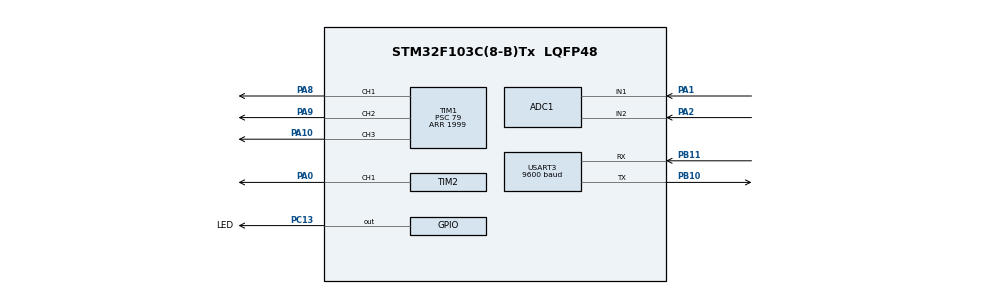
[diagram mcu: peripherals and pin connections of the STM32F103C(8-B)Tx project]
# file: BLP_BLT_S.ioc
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ADC1.Channel-0\#ChannelRegularConversion=ADC_CHANNEL_1
ADC1.Channel-1\#ChannelRegularConversion=ADC_CHANNEL_2
ADC1.ContinuousConvMode=ENABLE
ADC1.DataAlign=ADC_DATAALIGN_RIGHT
ADC1.DiscontinuousConvMode=DISABLE
ADC1.EnableInjectedConversion=ENABLE
ADC1.NbrOfConversion=2
ADC1.NbrOfConversionFlag=1
ADC1.Rank-0\#ChannelRegularConversion=1
ADC1.Rank-1\#ChannelRegularConversion=2
ADC1.SamplingTime-0\#ChannelRegularConversion=ADC_SAMPLETIME_1CYCLE_5
ADC1.SamplingTime-1\#ChannelRegularConversion=ADC_SAMPLETIME_1CYCLE_5
ADC1.master=1
Mcu.Family=STM32F1
Mcu.Name=STM32F103C(8-B)Tx
Mcu.Package=LQFP48
NVIC.ADC1_2_IRQn=true\:0\:0\:false\:false\:true\:true\:true\:true
NVIC.PriorityGroup=NVIC_PRIORITYGROUP_4
NVIC.USART3_IRQn=true\:0\:0\:false\:false\:true\:true\:true\:true
PA0-WKUP.Signal=S_TIM2_CH1_ETR
PA1.Signal=ADCx_IN1
PA10.Signal=S_TIM1_CH3
PA13.Mode=Serial_Wire
PA13.Signal=SYS_JTMS-SWDIO
PA14.Mode=Serial_Wire
PA14.Signal=SYS_JTCK-SWCLK
PA2.Signal=ADCx_IN2
PA8.Signal=S_TIM1_CH1
PA9.Signal=S_TIM1_CH2
PB10.Mode=Asynchronous
PB10.Signal=USART3_TX
PB11.Mode=Asynchronous
PB11.Signal=USART3_RX
PC13-TAMPER-RTC.GPIO_Label=LED
PC13-TAMPER-RTC.Signal=GPIO_Output
PD0-OSC_IN.Mode=HSE-External-Oscillator
PD0-OSC_IN.Signal=RCC_OSC_IN
PD1-OSC_OUT.Mode=HSE-External-Oscillator
PD1-OSC_OUT.Signal=RCC_OSC_OUT
ProjectManager.HeapSize=0x200
ProjectManager.StackSize=0x400
ProjectManager.TargetToolchain=STM32CubeIDE
RCC.APB1Freq_Value=8000000
RCC.APB2Freq_Value=8000000
SH.ADCx_IN1.0=ADC1_IN1,IN1
SH.ADCx_IN2.0=ADC1_IN2,IN2
SH.S_TIM1_CH1.0=TIM1_CH1,PWM Generation1 CH1
SH.S_TIM1_CH2.0=TIM1_CH2,PWM Generation2 CH2
SH.S_TIM1_CH3.0=TIM1_CH3,PWM Generation3 CH3
SH.S_TIM2_CH1_ETR.0=TIM2_CH1,PWM Generation1 CH1
TIM1.AutoReloadPreload=TIM_AUTORELOAD_PRELOAD_ENABLE
TIM1.Channel-PWM\ Generation1\ CH1=TIM_CHANNEL_1
TIM1.Channel-PWM\ Generation2\ CH2=TIM_CHANNEL_2
TIM1.Channel-PWM\ Generation3\ CH3=TIM_CHANNEL_3
TIM1.Period=1999
TIM1.Prescaler=79
TIM2.AutoReloadPreload=TIM_AUTORELOAD_PRELOAD_ENABLE
TIM2.Channel-PWM\ Generation1\ CH1=TIM_CHANNEL_1
TIM2.Period=1999
TIM2.Prescaler=79
USART3.BaudRate=9600
USART3.VirtualMode=VM_ASYNC
VP_TIM1_VS_ClockSourceINT.Mode=Internal
VP_TIM2_VS_ClockSourceINT.Mode=Internal
board=custom

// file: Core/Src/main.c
/* USER CODE BEGIN Header */
/**
  ******************************************************************************
  * @file           : main.c
  * @brief          : Main program body
  ******************************************************************************
  * @attention
  *
  * Copyright (c) 2023 STMicroelectronics.
  * All rights reserved.
  *
  * This software is licensed under terms that can be found in the LICENSE file
  * in the root directory of this software component.
  * If no LICENSE file comes with this software, it is provided AS-IS.
  *
  ******************************************************************************
  */
/* USER CODE END Header */
#include "main.h"

/* USER CODE BEGIN Includes */
#include <string.h>
/* USER CODE END Includes */

ADC_HandleTypeDef hadc1;

TIM_HandleTypeDef htim1;
TIM_HandleTypeDef htim2;

UART_HandleTypeDef huart3;

void SystemClock_Config(void);
static void MX_GPIO_Init(void);
static void MX_ADC1_Init(void);
static void MX_TIM1_Init(void);
static void MX_TIM2_Init(void);
static void MX_USART3_UART_Init(void);

/* USER CODE BEGIN 0 */

#define BUFFER_LEN  1
UART_HandleTypeDef huart3;

uint8_t RX_BUFFER[BUFFER_LEN] = {0};

void SystemClock_Config(void);
static void MX_GPIO_Init(void);
static void MX_USART3_UART_Init(void);

/* USER CODE END 0 */

int main(void)
{

  /* MCU Configuration--------------------------------------------------------*/

  /* Reset of all peripherals, Initializes the Flash interface and the Systick. */
  HAL_Init();

  /* Configure the system clock */
  SystemClock_Config();

  /* Initialize all configured peripherals */
  MX_GPIO_Init();
  MX_ADC1_Init();
  MX_TIM1_Init();
  MX_TIM2_Init();
  MX_USART3_UART_Init();
  /* USER CODE BEGIN 2 */

    int pozycjaX = 150;
    int pozycjaY = 150;
    int zmiana = 5;

    HAL_UART_Receive_IT(&huart3, RX_BUFFER, BUFFER_LEN);

  /* USER CODE END 2 */

  /* Infinite loop */
  /* USER CODE BEGIN WHILE */
  while (1)
  {
	  	  HAL_TIM_PWM_Start_IT(&htim1, TIM_CHANNEL_1);
	  	  HAL_TIM_PWM_Start_IT(&htim1, TIM_CHANNEL_2);
	  	  HAL_TIM_PWM_Start_IT(&htim1, TIM_CHANNEL_3);
	  	  HAL_TIM_PWM_Start_IT(&htim2, TIM_CHANNEL_1);

	  	HAL_UART_Receive_IT(&huart3, RX_BUFFER, BUFFER_LEN);

	  	if(RX_BUFFER[0] == '1'){
	  		pozycjaX = pozycjaX - zmiana;
	  		if(pozycjaX < 50){
	  			pozycjaX = 50;
	  			}
	  		HAL_Delay(100);
	  		}

	  	if(RX_BUFFER[0] == '2'){
	  		pozycjaX = pozycjaX + zmiana;
	  		if(pozycjaX >  250){
	  			pozycjaX = 250;
	  			}
	  		HAL_Delay(100);
	  		}

	  	if(RX_BUFFER[0] == '3'){
	  		pozycjaY = pozycjaY - zmiana;
	  		if(pozycjaY < 50){
	  			pozycjaY = 50;
	  			}
	  		HAL_Delay(100);
	  		}

	  	if(RX_BUFFER[0] == '4'){
	  		pozycjaY = pozycjaY + zmiana;
	  		if(pozycjaY >  250){
	  			pozycjaY = 250;
	  			}
	  	HAL_Delay(100);
	  	}

	  	      __HAL_TIM_SET_COMPARE(&htim1, TIM_CHANNEL_1, pozycjaX);
	  	      __HAL_TIM_SET_COMPARE(&htim1, TIM_CHANNEL_2, pozycjaX);
	  	  	  __HAL_TIM_SET_COMPARE(&htim1, TIM_CHANNEL_3, pozycjaY);
	  	  	  __HAL_TIM_SET_COMPARE(&htim2, TIM_CHANNEL_1, pozycjaY);

	  	  	HAL_UART_Receive_IT(&huart3, RX_BUFFER, BUFFER_LEN);

    /* USER CODE END WHILE */

  }
}

void SystemClock_Config(void)
{
  RCC_OscInitTypeDef RCC_OscInitStruct = {0};
  RCC_ClkInitTypeDef RCC_ClkInitStruct = {0};
  RCC_PeriphCLKInitTypeDef PeriphClkInit = {0};

  /** Initializes the RCC Oscillators according to the specified parameters
  * in the RCC_OscInitTypeDef structure.
  */
  RCC_OscInitStruct.OscillatorType = RCC_OSCILLATORTYPE_HSI;
  RCC_OscInitStruct.HSIState = RCC_HSI_ON;
  RCC_OscInitStruct.HSICalibrationValue = RCC_HSICALIBRATION_DEFAULT;
  RCC_OscInitStruct.PLL.PLLState = RCC_PLL_NONE;
  if (HAL_RCC_OscConfig(&RCC_OscInitStruct) != HAL_OK)
  {
    Error_Handler();
  }

  /** Initializes the CPU, AHB and APB buses clocks
  */
  RCC_ClkInitStruct.ClockType = RCC_CLOCKTYPE_HCLK|RCC_CLOCKTYPE_SYSCLK
                              |RCC_CLOCKTYPE_PCLK1|RCC_CLOCKTYPE_PCLK2;
  RCC_ClkInitStruct.SYSCLKSource = RCC_SYSCLKSOURCE_HSI;
  RCC_ClkInitStruct.AHBCLKDivider = RCC_SYSCLK_DIV1;
  RCC_ClkInitStruct.APB1CLKDivider = RCC_HCLK_DIV1;
  RCC_ClkInitStruct.APB2CLKDivider = RCC_HCLK_DIV1;

  if (HAL_RCC_ClockConfig(&RCC_ClkInitStruct, FLASH_LATENCY_0) != HAL_OK)
  {
    Error_Handler();
  }
  PeriphClkInit.PeriphClockSelection = RCC_PERIPHCLK_ADC;
  PeriphClkInit.AdcClockSelection = RCC_ADCPCLK2_DIV2;
  if (HAL_RCCEx_PeriphCLKConfig(&PeriphClkInit) != HAL_OK)
  {
    Error_Handler();
  }
}

static void MX_ADC1_Init(void)
{

  ADC_ChannelConfTypeDef sConfig = {0};

  /** Common config
  */
  hadc1.Instance = ADC1;
  hadc1.Init.ScanConvMode = ADC_SCAN_ENABLE;
  hadc1.Init.ContinuousConvMode = ENABLE;
  hadc1.Init.DiscontinuousConvMode = DISABLE;
  hadc1.Init.ExternalTrigConv = ADC_SOFTWARE_START;
  hadc1.Init.DataAlign = ADC_DATAALIGN_RIGHT;
  hadc1.Init.NbrOfConversion = 2;
  if (HAL_ADC_Init(&hadc1) != HAL_OK)
  {
    Error_Handler();
  }

  /** Configure Regular Channel
  */
  sConfig.Channel = ADC_CHANNEL_1;
  sConfig.Rank = ADC_REGULAR_RANK_1;
  sConfig.SamplingTime = ADC_SAMPLETIME_1CYCLE_5;
  if (HAL_ADC_ConfigChannel(&hadc1, &sConfig) != HAL_OK)
  {
    Error_Handler();
  }

  /** Configure Regular Channel
  */
  sConfig.Channel = ADC_CHANNEL_2;
  sConfig.Rank = ADC_REGULAR_RANK_2;
  if (HAL_ADC_ConfigChannel(&hadc1, &sConfig) != HAL_OK)
  {
    Error_Handler();
  }

}

static void MX_TIM1_Init(void)
{

  TIM_ClockConfigTypeDef sClockSourceConfig = {0};
  TIM_MasterConfigTypeDef sMasterConfig = {0};
  TIM_OC_InitTypeDef sConfigOC = {0};
  TIM_BreakDeadTimeConfigTypeDef sBreakDeadTimeConfig = {0};

  htim1.Instance = TIM1;
  htim1.Init.Prescaler = 79;
  htim1.Init.CounterMode = TIM_COUNTERMODE_UP;
  htim1.Init.Period = 1999;
  htim1.Init.ClockDivision = TIM_CLOCKDIVISION_DIV1;
  htim1.Init.RepetitionCounter = 0;
  htim1.Init.AutoReloadPreload = TIM_AUTORELOAD_PRELOAD_ENABLE;
  if (HAL_TIM_Base_Init(&htim1) != HAL_OK)
  {
    Error_Handler();
  }
  sClockSourceConfig.ClockSource = TIM_CLOCKSOURCE_INTERNAL;
  if (HAL_TIM_ConfigClockSource(&htim1, &sClockSourceConfig) != HAL_OK)
  {
    Error_Handler();
  }
  if (HAL_TIM_PWM_Init(&htim1) != HAL_OK)
  {
    Error_Handler();
  }
  sMasterConfig.MasterOutputTrigger = TIM_TRGO_RESET;
  sMasterConfig.MasterSlaveMode = TIM_MASTERSLAVEMODE_DISABLE;
  if (HAL_TIMEx_MasterConfigSynchronization(&htim1, &sMasterConfig) != HAL_OK)
  {
    Error_Handler();
  }
  sConfigOC.OCMode = TIM_OCMODE_PWM1;
  sConfigOC.Pulse = 0;
  sConfigOC.OCPolarity = TIM_OCPOLARITY_HIGH;
  sConfigOC.OCNPolarity = TIM_OCNPOLARITY_HIGH;
  sConfigOC.OCFastMode = TIM_OCFAST_DISABLE;
  sConfigOC.OCIdleState = TIM_OCIDLESTATE_RESET;
  sConfigOC.OCNIdleState = TIM_OCNIDLESTATE_RESET;
  if (HAL_TIM_PWM_ConfigChannel(&htim1, &sConfigOC, TIM_CHANNEL_1) != HAL_OK)
  {
    Error_Handler();
  }
  if (HAL_TIM_PWM_ConfigChannel(&htim1, &sConfigOC, TIM_CHANNEL_2) != HAL_OK)
  {
    Error_Handler();
  }
  if (HAL_TIM_PWM_ConfigChannel(&htim1, &sConfigOC, TIM_CHANNEL_3) != HAL_OK)
  {
    Error_Handler();
  }
  sBreakDeadTimeConfig.OffStateRunMode = TIM_OSSR_DISABLE;
  sBreakDeadTimeConfig.OffStateIDLEMode = TIM_OSSI_DISABLE;
  sBreakDeadTimeConfig.LockLevel = TIM_LOCKLEVEL_OFF;
  sBreakDeadTimeConfig.DeadTime = 0;
  sBreakDeadTimeConfig.BreakState = TIM_BREAK_DISABLE;
  sBreakDeadTimeConfig.BreakPolarity = TIM_BREAKPOLARITY_HIGH;
  sBreakDeadTimeConfig.AutomaticOutput = TIM_AUTOMATICOUTPUT_DISABLE;
  if (HAL_TIMEx_ConfigBreakDeadTime(&htim1, &sBreakDeadTimeConfig) != HAL_OK)
  {
    Error_Handler();
  }
  HAL_TIM_MspPostInit(&htim1);

}

static void MX_TIM2_Init(void)
{

  TIM_ClockConfigTypeDef sClockSourceConfig = {0};
  TIM_MasterConfigTypeDef sMasterConfig = {0};
  TIM_OC_InitTypeDef sConfigOC = {0};

  htim2.Instance = TIM2;
  htim2.Init.Prescaler = 79;
  htim2.Init.CounterMode = TIM_COUNTERMODE_UP;
  htim2.Init.Period = 1999;
  htim2.Init.ClockDivision = TIM_CLOCKDIVISION_DIV1;
  htim2.Init.AutoReloadPreload = TIM_AUTORELOAD_PRELOAD_ENABLE;
  if (HAL_TIM_Base_Init(&htim2) != HAL_OK)
  {
    Error_Handler();
  }
  sClockSourceConfig.ClockSource = TIM_CLOCKSOURCE_INTERNAL;
  if (HAL_TIM_ConfigClockSource(&htim2, &sClockSourceConfig) != HAL_OK)
  {
    Error_Handler();
  }
  if (HAL_TIM_PWM_Init(&htim2) != HAL_OK)
  {
    Error_Handler();
  }
  sMasterConfig.MasterOutputTrigger = TIM_TRGO_RESET;
  sMasterConfig.MasterSlaveMode = TIM_MASTERSLAVEMODE_DISABLE;
  if (HAL_TIMEx_MasterConfigSynchronization(&htim2, &sMasterConfig) != HAL_OK)
  {
    Error_Handler();
  }
  sConfigOC.OCMode = TIM_OCMODE_PWM1;
  sConfigOC.Pulse = 0;
  sConfigOC.OCPolarity = TIM_OCPOLARITY_HIGH;
  sConfigOC.OCFastMode = TIM_OCFAST_DISABLE;
  if (HAL_TIM_PWM_ConfigChannel(&htim2, &sConfigOC, TIM_CHANNEL_1) != HAL_OK)
  {
    Error_Handler();
  }
  HAL_TIM_MspPostInit(&htim2);

}

static void MX_USART3_UART_Init(void)
{

  huart3.Instance = USART3;
  huart3.Init.BaudRate = 9600;
  huart3.Init.WordLength = UART_WORDLENGTH_8B;
  huart3.Init.StopBits = UART_STOPBITS_1;
  huart3.Init.Parity = UART_PARITY_NONE;
  huart3.Init.Mode = UART_MODE_TX_RX;
  huart3.Init.HwFlowCtl = UART_HWCONTROL_NONE;
  huart3.Init.OverSampling = UART_OVERSAMPLING_16;
  if (HAL_UART_Init(&huart3) != HAL_OK)
  {
    Error_Handler();
  }

}

static void MX_GPIO_Init(void)
{
  GPIO_InitTypeDef GPIO_InitStruct = {0};

  /* GPIO Ports Clock Enable */
  __HAL_RCC_GPIOC_CLK_ENABLE();
  __HAL_RCC_GPIOD_CLK_ENABLE();
  __HAL_RCC_GPIOA_CLK_ENABLE();
  __HAL_RCC_GPIOB_CLK_ENABLE();

  /*Configure GPIO pin Output Level */
  HAL_GPIO_WritePin(LED_GPIO_Port, LED_Pin, GPIO_PIN_RESET);

  /*Configure GPIO pin : LED_Pin */
  GPIO_InitStruct.Pin = LED_Pin;
  GPIO_InitStruct.Mode = GPIO_MODE_OUTPUT_PP;
  GPIO_InitStruct.Pull = GPIO_NOPULL;
  GPIO_InitStruct.Speed = GPIO_SPEED_FREQ_LOW;
  HAL_GPIO_Init(LED_GPIO_Port, &GPIO_InitStruct);

}

/* USER CODE BEGIN 4 */
//void HAL_UART_RxCpltCallback(UART_HandleTypeDef *huart)
//{
//    if(huart->Instance == huart1.Instance)
//    {
//    HAL_UART_Receive_IT(&huart1, RX_BUFFER, BUFFER_LEN);
//    }
//}
/* USER CODE END 4 */

void Error_Handler(void)
{
  __disable_irq();
  while (1)
  {
  }
}
